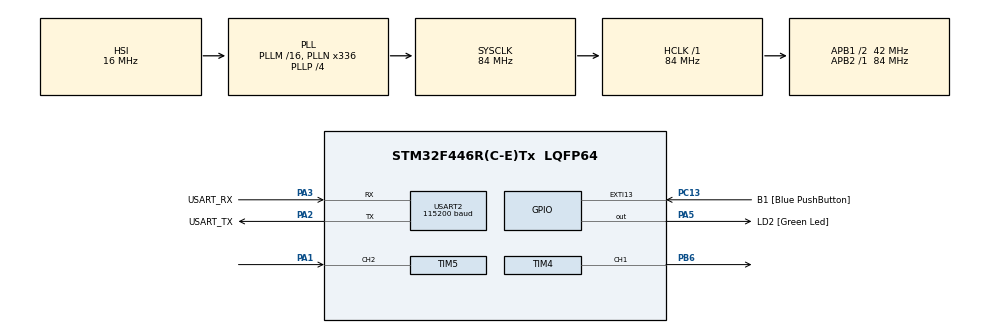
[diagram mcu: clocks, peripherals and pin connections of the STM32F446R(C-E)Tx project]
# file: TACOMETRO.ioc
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Mcu.Family=STM32F4
Mcu.Name=STM32F446R(C-E)Tx
Mcu.Package=LQFP64
NVIC.PriorityGroup=NVIC_PRIORITYGROUP_0
NVIC.TIM1_UP_TIM10_IRQn=true\:0\:0\:false\:false\:true\:true\:true\:true
NVIC.TIM5_IRQn=true\:0\:0\:false\:false\:true\:true\:true\:true
NVIC.USART2_IRQn=true\:0\:0\:false\:false\:true\:true\:true\:true
PA1.Signal=S_TIM5_CH2
PA13.GPIO_Label=TMS
PA13.Signal=SYS_JTMS-SWDIO
PA14.GPIO_Label=TCK
PA14.Signal=SYS_JTCK-SWCLK
PA2.GPIO_Label=USART_TX
PA2.Mode=Asynchronous
PA2.Signal=USART2_TX
PA3.GPIO_Label=USART_RX
PA3.Mode=Asynchronous
PA3.Signal=USART2_RX
PA5.GPIO_Label=LD2 [Green Led]
PA5.Signal=GPIO_Output
PB3.GPIO_Label=SWO
PB3.Signal=SYS_JTDO-SWO
PB6.Signal=S_TIM4_CH1
PC13.GPIO_Label=B1 [Blue PushButton]
PC13.GPIO_ModeDefaultEXTI=GPIO_MODE_IT_FALLING
PC13.Signal=GPXTI13
PC14-OSC32_IN.Signal=RCC_OSC32_IN
PC15-OSC32_OUT.Signal=RCC_OSC32_OUT
PH0-OSC_IN.Signal=RCC_OSC_IN
PH1-OSC_OUT.Signal=RCC_OSC_OUT
ProjectManager.HeapSize=0x200
ProjectManager.StackSize=0x400
ProjectManager.TargetToolchain=STM32CubeIDE
RCC.AHBFreq_Value=84000000
RCC.APB1CLKDivider=RCC_HCLK_DIV2
RCC.APB1Freq_Value=42000000
RCC.APB1TimFreq_Value=84000000
RCC.APB2Freq_Value=84000000
RCC.APB2TimFreq_Value=84000000
RCC.CortexFreq_Value=84000000
RCC.FLatency-AdvancedSettings=FLASH_LATENCY_2
RCC.HCLKFreq_Value=84000000
RCC.HSE_VALUE=8000000
RCC.HSI_VALUE=16000000
RCC.LSE_VALUE=32768
RCC.PLLN=336
RCC.PLLP=RCC_PLLP_DIV4
RCC.SYSCLKFreq_VALUE=84000000
RCC.SYSCLKSource=RCC_SYSCLKSOURCE_PLLCLK
RCC.USBFreq_Value=168000000
RCC.VCOOutputFreq_Value=336000000
SH.S_TIM4_CH1.0=TIM4_CH1,PWM Generation1 CH1
SH.S_TIM5_CH2.0=TIM5_CH2,Input_Capture2_from_TI2
TIM10.Period=9999
TIM10.Prescaler=4199
TIM4.Channel-PWM\ Generation1\ CH1=TIM_CHANNEL_1
TIM4.Period=999
TIM4.Prescaler=839
TIM4.Pulse-PWM\ Generation1\ CH1=500
TIM5.AutoReloadPreload=TIM_AUTORELOAD_PRELOAD_DISABLE
TIM5.Channel-Input_Capture2_from_TI2=TIM_CHANNEL_2
TIM5.ClockDivision=TIM_CLOCKDIVISION_DIV4
TIM5.ICFilter_CH2=10
TIM5.ICPolarity_CH2=TIM_INPUTCHANNELPOLARITY_BOTHEDGE
TIM5.ICPrescaler-Input_Capture2_from_TI2=TIM_ICPSC_DIV1
TIM5.Prescaler=83
USART2.BaudRate=115200
USART2.VirtualMode=VM_ASYNC
VP_TIM10_VS_ClockSourceINT.Mode=Enable_Timer
VP_TIM4_VS_ClockSourceINT.Mode=Internal
VP_TIM5_VS_ClockSourceINT.Mode=Internal
board=NUCLEO-F446RE

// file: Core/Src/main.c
/* USER CODE BEGIN Header */
/**
  ******************************************************************************
  * @file           : main.c
  * @brief          : Main program body
  ******************************************************************************
  *
  ******************************************************************************
  */
/* USER CODE END Header */
#include "main.h"

/* USER CODE BEGIN Includes */
#include <string.h>
#include <stdio.h>
/* USER CODE END Includes */

/* USER CODE BEGIN PD */
#define msgSIZE 100 // tamanho da string
#define TIMEOUT_SERIAL 100
#define MIN 60.0 // segundos em 1min
/* USER CODE END PD */

TIM_HandleTypeDef htim4;
TIM_HandleTypeDef htim5;
TIM_HandleTypeDef htim10;

UART_HandleTypeDef huart2;

/* USER CODE BEGIN PV */
float periodo;															//periodo do sinal medido
float borda[3] ={0, 0,0}; 												// tempo de cada borda do sinal em us
enum TBORDAS {subida = 0, descida = 1, atual }; 						// numero das bordas
uint8_t msg[msgSIZE]; 													// mesnagem para a serial
float frequencia = 0; 													// frequencia medida
float DutyCicle_OUT = 0; 												//DutyCicle medido
int DutyCicle_IN[10]  = {0,300,350 , 400,450,500, 550, 600, 650, 700};  // Valores de DT do pwm
uint8_t ValSerial;														// Valor recebbido da serial
int RPM = 0; 															// Velocidade em Rotações Por Minuto
/* USER CODE END PV */

void SystemClock_Config(void);
static void MX_GPIO_Init(void);
static void MX_TIM5_Init(void);
static void MX_TIM10_Init(void);
static void MX_USART2_UART_Init(void);
static void MX_TIM4_Init(void);

int main(void)
{

  /* USER CODE BEGIN 1 */
	//Preenche_DutyCicle();
  /* USER CODE END 1 */

  /* MCU Configuration--------------------------------------------------------*/

  /* Reset of all peripherals, Initializes the Flash interface and the Systick. */
  HAL_Init();

  /* Configure the system clock */
  SystemClock_Config();

  /* Initialize all configured peripherals */
  MX_GPIO_Init();
  MX_TIM5_Init();
  MX_TIM10_Init();
  MX_USART2_UART_Init();
  MX_TIM4_Init();
  /* USER CODE BEGIN 2 */
  HAL_TIM_IC_Start_IT(&htim5, TIM_CHANNEL_2);   // INPUT CAPTURE
  HAL_TIM_Base_Start_IT(&htim10); 				// TIMER PARA ENVIAR AS MENSAGENS EM DETERMINADO TEMPO
  HAL_TIM_PWM_Start(&htim4, TIM_CHANNEL_1); 	// GERAÇÃO DE SINAL PWM

  //strncpy(msg, "MEDIDOR DE SINAIS \n\r", msgSIZE);
  //HAL_UART_Transmit(&huart2, msg, strlen(msg), TIMEOUT_SERIAL);
  HAL_UART_Receive_IT(&huart2, &ValSerial, 1);
  __HAL_TIM_SET_COMPARE(&htim4, TIM_CHANNEL_1, 500);

  /* USER CODE END 2 */

  /* Infinite loop */
  while (1)
  {

  }
}

void SystemClock_Config(void)
{
  RCC_OscInitTypeDef RCC_OscInitStruct = {0};
  RCC_ClkInitTypeDef RCC_ClkInitStruct = {0};

  /** Configure the main internal regulator output voltage
  */
  __HAL_RCC_PWR_CLK_ENABLE();
  __HAL_PWR_VOLTAGESCALING_CONFIG(PWR_REGULATOR_VOLTAGE_SCALE3);

  /** Initializes the RCC Oscillators according to the specified parameters
  * in the RCC_OscInitTypeDef structure.
  */
  RCC_OscInitStruct.OscillatorType = RCC_OSCILLATORTYPE_HSI;
  RCC_OscInitStruct.HSIState = RCC_HSI_ON;
  RCC_OscInitStruct.HSICalibrationValue = RCC_HSICALIBRATION_DEFAULT;
  RCC_OscInitStruct.PLL.PLLState = RCC_PLL_ON;
  RCC_OscInitStruct.PLL.PLLSource = RCC_PLLSOURCE_HSI;
  RCC_OscInitStruct.PLL.PLLM = 16;
  RCC_OscInitStruct.PLL.PLLN = 336;
  RCC_OscInitStruct.PLL.PLLP = RCC_PLLP_DIV4;
  RCC_OscInitStruct.PLL.PLLQ = 2;
  RCC_OscInitStruct.PLL.PLLR = 2;
  if (HAL_RCC_OscConfig(&RCC_OscInitStruct) != HAL_OK)
  {
    Error_Handler();
  }

  /** Initializes the CPU, AHB and APB buses clocks
  */
  RCC_ClkInitStruct.ClockType = RCC_CLOCKTYPE_HCLK|RCC_CLOCKTYPE_SYSCLK
                              |RCC_CLOCKTYPE_PCLK1|RCC_CLOCKTYPE_PCLK2;
  RCC_ClkInitStruct.SYSCLKSource = RCC_SYSCLKSOURCE_PLLCLK;
  RCC_ClkInitStruct.AHBCLKDivider = RCC_SYSCLK_DIV1;
  RCC_ClkInitStruct.APB1CLKDivider = RCC_HCLK_DIV2;
  RCC_ClkInitStruct.APB2CLKDivider = RCC_HCLK_DIV1;

  if (HAL_RCC_ClockConfig(&RCC_ClkInitStruct, FLASH_LATENCY_2) != HAL_OK)
  {
    Error_Handler();
  }
}

static void MX_TIM4_Init(void)
{

  TIM_ClockConfigTypeDef sClockSourceConfig = {0};
  TIM_MasterConfigTypeDef sMasterConfig = {0};
  TIM_OC_InitTypeDef sConfigOC = {0};

  htim4.Instance = TIM4;
  htim4.Init.Prescaler = 839;
  htim4.Init.CounterMode = TIM_COUNTERMODE_UP;
  htim4.Init.Period = 999;
  htim4.Init.ClockDivision = TIM_CLOCKDIVISION_DIV1;
  htim4.Init.AutoReloadPreload = TIM_AUTORELOAD_PRELOAD_DISABLE;
  if (HAL_TIM_Base_Init(&htim4) != HAL_OK)
  {
    Error_Handler();
  }
  sClockSourceConfig.ClockSource = TIM_CLOCKSOURCE_INTERNAL;
  if (HAL_TIM_ConfigClockSource(&htim4, &sClockSourceConfig) != HAL_OK)
  {
    Error_Handler();
  }
  if (HAL_TIM_PWM_Init(&htim4) != HAL_OK)
  {
    Error_Handler();
  }
  sMasterConfig.MasterOutputTrigger = TIM_TRGO_RESET;
  sMasterConfig.MasterSlaveMode = TIM_MASTERSLAVEMODE_DISABLE;
  if (HAL_TIMEx_MasterConfigSynchronization(&htim4, &sMasterConfig) != HAL_OK)
  {
    Error_Handler();
  }
  sConfigOC.OCMode = TIM_OCMODE_PWM1;
  sConfigOC.Pulse = 500;
  sConfigOC.OCPolarity = TIM_OCPOLARITY_HIGH;
  sConfigOC.OCFastMode = TIM_OCFAST_DISABLE;
  if (HAL_TIM_PWM_ConfigChannel(&htim4, &sConfigOC, TIM_CHANNEL_1) != HAL_OK)
  {
    Error_Handler();
  }
  HAL_TIM_MspPostInit(&htim4);

}

static void MX_TIM5_Init(void)
{

  TIM_ClockConfigTypeDef sClockSourceConfig = {0};
  TIM_MasterConfigTypeDef sMasterConfig = {0};
  TIM_IC_InitTypeDef sConfigIC = {0};

  htim5.Instance = TIM5;
  htim5.Init.Prescaler = 83;
  htim5.Init.CounterMode = TIM_COUNTERMODE_UP;
  htim5.Init.Period = 4294967295;
  htim5.Init.ClockDivision = TIM_CLOCKDIVISION_DIV4;
  htim5.Init.AutoReloadPreload = TIM_AUTORELOAD_PRELOAD_DISABLE;
  if (HAL_TIM_Base_Init(&htim5) != HAL_OK)
  {
    Error_Handler();
  }
  sClockSourceConfig.ClockSource = TIM_CLOCKSOURCE_INTERNAL;
  if (HAL_TIM_ConfigClockSource(&htim5, &sClockSourceConfig) != HAL_OK)
  {
    Error_Handler();
  }
  if (HAL_TIM_IC_Init(&htim5) != HAL_OK)
  {
    Error_Handler();
  }
  sMasterConfig.MasterOutputTrigger = TIM_TRGO_RESET;
  sMasterConfig.MasterSlaveMode = TIM_MASTERSLAVEMODE_DISABLE;
  if (HAL_TIMEx_MasterConfigSynchronization(&htim5, &sMasterConfig) != HAL_OK)
  {
    Error_Handler();
  }
  sConfigIC.ICPolarity = TIM_INPUTCHANNELPOLARITY_BOTHEDGE;
  sConfigIC.ICSelection = TIM_ICSELECTION_DIRECTTI;
  sConfigIC.ICPrescaler = TIM_ICPSC_DIV1;
  sConfigIC.ICFilter = 10;
  if (HAL_TIM_IC_ConfigChannel(&htim5, &sConfigIC, TIM_CHANNEL_2) != HAL_OK)
  {
    Error_Handler();
  }

}

static void MX_TIM10_Init(void)
{

  htim10.Instance = TIM10;
  htim10.Init.Prescaler = 4199;
  htim10.Init.CounterMode = TIM_COUNTERMODE_UP;
  htim10.Init.Period = 9999;
  htim10.Init.ClockDivision = TIM_CLOCKDIVISION_DIV1;
  htim10.Init.AutoReloadPreload = TIM_AUTORELOAD_PRELOAD_DISABLE;
  if (HAL_TIM_Base_Init(&htim10) != HAL_OK)
  {
    Error_Handler();
  }

}

static void MX_USART2_UART_Init(void)
{

  huart2.Instance = USART2;
  huart2.Init.BaudRate = 115200;
  huart2.Init.WordLength = UART_WORDLENGTH_8B;
  huart2.Init.StopBits = UART_STOPBITS_1;
  huart2.Init.Parity = UART_PARITY_NONE;
  huart2.Init.Mode = UART_MODE_TX_RX;
  huart2.Init.HwFlowCtl = UART_HWCONTROL_NONE;
  huart2.Init.OverSampling = UART_OVERSAMPLING_16;
  if (HAL_UART_Init(&huart2) != HAL_OK)
  {
    Error_Handler();
  }

}

static void MX_GPIO_Init(void)
{
  GPIO_InitTypeDef GPIO_InitStruct = {0};

  /* GPIO Ports Clock Enable */
  __HAL_RCC_GPIOC_CLK_ENABLE();
  __HAL_RCC_GPIOH_CLK_ENABLE();
  __HAL_RCC_GPIOA_CLK_ENABLE();
  __HAL_RCC_GPIOB_CLK_ENABLE();

  /*Configure GPIO pin Output Level */
  HAL_GPIO_WritePin(LD2_GPIO_Port, LD2_Pin, GPIO_PIN_RESET);

  /*Configure GPIO pin : B1_Pin */
  GPIO_InitStruct.Pin = B1_Pin;
  GPIO_InitStruct.Mode = GPIO_MODE_IT_FALLING;
  GPIO_InitStruct.Pull = GPIO_NOPULL;
  HAL_GPIO_Init(B1_GPIO_Port, &GPIO_InitStruct);

  /*Configure GPIO pin : LD2_Pin */
  GPIO_InitStruct.Pin = LD2_Pin;
  GPIO_InitStruct.Mode = GPIO_MODE_OUTPUT_PP;
  GPIO_InitStruct.Pull = GPIO_NOPULL;
  GPIO_InitStruct.Speed = GPIO_SPEED_FREQ_LOW;
  HAL_GPIO_Init(LD2_GPIO_Port, &GPIO_InitStruct);

}

/* USER CODE BEGIN 4 */
/**
 * @brief Calcula o periodo do sinal
 * @param Handler do timer que chamou o callback
 * @attention None
 */
void HAL_TIM_IC_CaptureCallback(TIM_HandleTypeDef *htim){ 				 // IT do Input Capture
	do{ 																 // como os valores inniciam com zero em borda é preciso usaro do while
		borda[subida] = borda[descida];									 // trocando os valores de lugar
		borda[descida] = borda[atual];
		borda[atual] = __HAL_TIM_GET_COMPARE(htim, TIM_CHANNEL_2);  	 // pegando a borda atuual
		periodo = borda[atual] - borda[subida];

		float Periodo_Em_Segundos = periodo/1000000.0; 				     //nescessario para calcular a frequencia 1/s
		frequencia = 1.00/Periodo_Em_Segundos; 							 //frequuencia em hz's

		//Duty Cycle= T on / (T on +T off ) * 100
		DutyCicle_OUT = ((borda[descida] - borda[subida])/periodo) * 100;// periodo ativo do sinal
	}while(borda[atual] < borda[subida]);								 //  Caso o tempo do contador se esgote

}

/**
 * @brief Envia o valor do periodo e das bordas
 * @param None
 * @retval None
*/

void HAL_TIM_PeriodElapsedCallback(TIM_HandleTypeDef *htim)
{
	if (htim->Instance==TIM10)
	{
		if(ValSerial == 0){
			periodo = 0;
			frequencia = 0;
			DutyCicle_OUT = 0;
		}
		RPM = (frequencia * MIN)/2.0;
		//Enviando a mensagem por JSON para conseguir filtrar as variaveis no cube monitor
		snprintf(msg, msgSIZE, "{ \"periodo\": %.2f ,\"duty\": %.1f, \"frequencia\": %.2f, \"RPM\": %i } \n", periodo,DutyCicle_OUT, frequencia, RPM);
		HAL_UART_Transmit(&huart2, msg, strlen(msg), TIMEOUT_SERIAL);
	}
}

/**
 * @brief Set o valor de acordo com o duty cicle dado pelo usuario
 * @param Valor dado pelo usuário na serial: ValSerial
 * @retval None
 */

void HAL_UART_RxCpltCallback(UART_HandleTypeDef *huart)
{
	ValSerial = ValSerial-'0'; 											   // Tirando o 'offset' de char recebido pela serial
	__HAL_TIM_SET_COMPARE(&htim4, TIM_CHANNEL_1, DutyCicle_IN[ValSerial]); // setando DT do PWM
	HAL_UART_Receive_IT(&huart2, &ValSerial, 1);

}
/* USER CODE END 4 */

void Error_Handler(void)
{
  __disable_irq();
  while (1)
  {
  }
}
